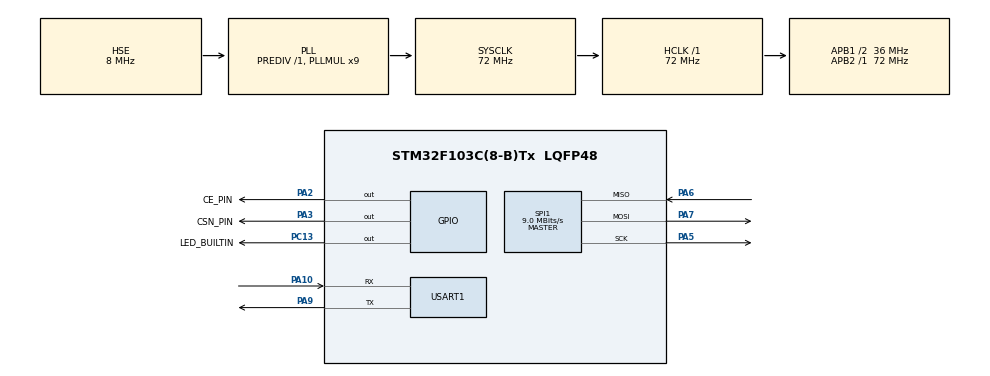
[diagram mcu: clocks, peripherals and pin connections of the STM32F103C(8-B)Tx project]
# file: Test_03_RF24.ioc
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Mcu.Family=STM32F1
Mcu.Name=STM32F103C(8-B)Tx
Mcu.Package=LQFP48
NVIC.PriorityGroup=NVIC_PRIORITYGROUP_4
PA10.Mode=Asynchronous
PA10.Signal=USART1_RX
PA2.GPIO_Label=CE_PIN
PA2.Signal=GPIO_Output
PA3.GPIO_Label=CSN_PIN
PA3.Signal=GPIO_Output
PA5.Mode=Full_Duplex_Master
PA5.Signal=SPI1_SCK
PA6.Mode=Full_Duplex_Master
PA6.Signal=SPI1_MISO
PA7.Mode=Full_Duplex_Master
PA7.Signal=SPI1_MOSI
PA9.Mode=Asynchronous
PA9.Signal=USART1_TX
PC13-TAMPER-RTC.GPIO_Label=LED_BUILTIN
PC13-TAMPER-RTC.Signal=GPIO_Output
PD0-OSC_IN.Mode=HSE-External-Oscillator
PD0-OSC_IN.Signal=RCC_OSC_IN
PD1-OSC_OUT.Mode=HSE-External-Oscillator
PD1-OSC_OUT.Signal=RCC_OSC_OUT
ProjectManager.HeapSize=0x200
ProjectManager.StackSize=0x400
ProjectManager.TargetToolchain=STM32CubeIDE
RCC.AHBFreq_Value=72000000
RCC.APB1CLKDivider=RCC_HCLK_DIV2
RCC.APB1Freq_Value=36000000
RCC.APB1TimFreq_Value=72000000
RCC.APB2Freq_Value=72000000
RCC.APB2TimFreq_Value=72000000
RCC.EnbaleCSS=true
RCC.HCLKFreq_Value=72000000
RCC.PLLMUL=RCC_PLL_MUL9
RCC.PLLSourceVirtual=RCC_PLLSOURCE_HSE
RCC.SYSCLKFreq_VALUE=72000000
RCC.SYSCLKSource=RCC_SYSCLKSOURCE_PLLCLK
RCC.USBFreq_Value=72000000
SPI1.BaudRatePrescaler=SPI_BAUDRATEPRESCALER_8
SPI1.CalculateBaudRate=9.0 MBits/s
SPI1.Direction=SPI_DIRECTION_2LINES
SPI1.Mode=SPI_MODE_MASTER
SPI1.VirtualType=VM_MASTER
USART1.VirtualMode=VM_ASYNC
VP_SYS_VS_ND.Mode=No_Debug
board=custom

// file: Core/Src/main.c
/* USER CODE BEGIN Header */
/**
  ******************************************************************************
  * @file           : main.c
  * @brief          : Main program body
  ******************************************************************************
  * @attention
  *
  * <h2><center>&copy; Copyright (c) 2020 STMicroelectronics.
  * All rights reserved.</center></h2>
  *
  * This software component is licensed by ST under BSD 3-Clause license,
  * the "License"; You may not use this file except in compliance with the
  * License. You may obtain a copy of the License at:
  *                        opensource.org/licenses/BSD-3-Clause
  *
  ******************************************************************************
  */
/* USER CODE END Header */

#include "main.h"

/* USER CODE BEGIN Includes */
#include <stdio.h>
#include <stdlib.h>
#include "RF_RX.h"
/* USER CODE END Includes */

SPI_HandleTypeDef hspi1;

UART_HandleTypeDef huart1;

void SystemClock_Config(void);
static void MX_GPIO_Init(void);
static void MX_SPI1_Init(void);
static void MX_USART1_UART_Init(void);

/* USER CODE BEGIN 0 */

void __io_putchar (char ch) {
	HAL_UART_Transmit(&huart1, (uint8_t *)&ch, 1, 100);
}

typedef struct
{
  unsigned char power;

  unsigned char roll;
  unsigned char pitch;
  unsigned char yaw;

  unsigned char arm;
}RC_paket;

RC_paket rc_paket;

uint8_t rx_address[] = { 1, 2, 3, 4, 0 };
uint8_t tx_address[] = { 2, 3, 4, 5, 6 };

/* USER CODE END 0 */

int main(void)
{

  /* MCU Configuration--------------------------------------------------------*/

  /* Reset of all peripherals, Initializes the Flash interface and the Systick. */
  HAL_Init();

  /* Configure the system clock */
  SystemClock_Config();

  /* Initialize all configured peripherals */
  MX_GPIO_Init();
  MX_SPI1_Init();
  MX_USART1_UART_Init();
  /* USER CODE BEGIN 2 */

  preInit(&hspi1);
  while(!initRadio(rx_address, BITRATE2MBPS, 100)) {
	 printf("Bad radio conn...\n\r");
	 HAL_Delay(100);
  }

  /* USER CODE END 2 */

  /* Infinite loop */
  while (1)
  {

    /* USER CODE BEGIN 3 */
	  //printf("Hello world!\n\r");
	  HAL_Delay(10);
	  while(hasData()) {
		  readData(&rc_paket, sizeof(rc_paket));
	  }
	  printf("Pitch: %d\n\r", rc_paket.pitch);
  }
  /* USER CODE END 3 */
}

void SystemClock_Config(void)
{
  RCC_OscInitTypeDef RCC_OscInitStruct = {0};
  RCC_ClkInitTypeDef RCC_ClkInitStruct = {0};

  /** Initializes the CPU, AHB and APB busses clocks
  */
  RCC_OscInitStruct.OscillatorType = RCC_OSCILLATORTYPE_HSE;
  RCC_OscInitStruct.HSEState = RCC_HSE_ON;
  RCC_OscInitStruct.HSEPredivValue = RCC_HSE_PREDIV_DIV1;
  RCC_OscInitStruct.HSIState = RCC_HSI_ON;
  RCC_OscInitStruct.PLL.PLLState = RCC_PLL_ON;
  RCC_OscInitStruct.PLL.PLLSource = RCC_PLLSOURCE_HSE;
  RCC_OscInitStruct.PLL.PLLMUL = RCC_PLL_MUL9;
  if (HAL_RCC_OscConfig(&RCC_OscInitStruct) != HAL_OK)
  {
    Error_Handler();
  }
  /** Initializes the CPU, AHB and APB busses clocks
  */
  RCC_ClkInitStruct.ClockType = RCC_CLOCKTYPE_HCLK|RCC_CLOCKTYPE_SYSCLK
                              |RCC_CLOCKTYPE_PCLK1|RCC_CLOCKTYPE_PCLK2;
  RCC_ClkInitStruct.SYSCLKSource = RCC_SYSCLKSOURCE_PLLCLK;
  RCC_ClkInitStruct.AHBCLKDivider = RCC_SYSCLK_DIV1;
  RCC_ClkInitStruct.APB1CLKDivider = RCC_HCLK_DIV2;
  RCC_ClkInitStruct.APB2CLKDivider = RCC_HCLK_DIV1;

  if (HAL_RCC_ClockConfig(&RCC_ClkInitStruct, FLASH_LATENCY_2) != HAL_OK)
  {
    Error_Handler();
  }
  /** Enables the Clock Security System
  */
  HAL_RCC_EnableCSS();
}

static void MX_SPI1_Init(void)
{

  /* SPI1 parameter configuration*/
  hspi1.Instance = SPI1;
  hspi1.Init.Mode = SPI_MODE_MASTER;
  hspi1.Init.Direction = SPI_DIRECTION_2LINES;
  hspi1.Init.DataSize = SPI_DATASIZE_8BIT;
  hspi1.Init.CLKPolarity = SPI_POLARITY_LOW;
  hspi1.Init.CLKPhase = SPI_PHASE_1EDGE;
  hspi1.Init.NSS = SPI_NSS_SOFT;
  hspi1.Init.BaudRatePrescaler = SPI_BAUDRATEPRESCALER_8;
  hspi1.Init.FirstBit = SPI_FIRSTBIT_MSB;
  hspi1.Init.TIMode = SPI_TIMODE_DISABLE;
  hspi1.Init.CRCCalculation = SPI_CRCCALCULATION_DISABLE;
  hspi1.Init.CRCPolynomial = 10;
  if (HAL_SPI_Init(&hspi1) != HAL_OK)
  {
    Error_Handler();
  }

}

static void MX_USART1_UART_Init(void)
{

  huart1.Instance = USART1;
  huart1.Init.BaudRate = 115200;
  huart1.Init.WordLength = UART_WORDLENGTH_8B;
  huart1.Init.StopBits = UART_STOPBITS_1;
  huart1.Init.Parity = UART_PARITY_NONE;
  huart1.Init.Mode = UART_MODE_TX_RX;
  huart1.Init.HwFlowCtl = UART_HWCONTROL_NONE;
  huart1.Init.OverSampling = UART_OVERSAMPLING_16;
  if (HAL_UART_Init(&huart1) != HAL_OK)
  {
    Error_Handler();
  }

}

static void MX_GPIO_Init(void)
{
  GPIO_InitTypeDef GPIO_InitStruct = {0};

  /* GPIO Ports Clock Enable */
  __HAL_RCC_GPIOC_CLK_ENABLE();
  __HAL_RCC_GPIOD_CLK_ENABLE();
  __HAL_RCC_GPIOA_CLK_ENABLE();

  /*Configure GPIO pin Output Level */
  HAL_GPIO_WritePin(LED_BUILTIN_GPIO_Port, LED_BUILTIN_Pin, GPIO_PIN_RESET);

  /*Configure GPIO pin Output Level */
  HAL_GPIO_WritePin(GPIOA, CE_PIN_Pin|CSN_PIN_Pin, GPIO_PIN_RESET);

  /*Configure GPIO pin : LED_BUILTIN_Pin */
  GPIO_InitStruct.Pin = LED_BUILTIN_Pin;
  GPIO_InitStruct.Mode = GPIO_MODE_OUTPUT_PP;
  GPIO_InitStruct.Pull = GPIO_NOPULL;
  GPIO_InitStruct.Speed = GPIO_SPEED_FREQ_LOW;
  HAL_GPIO_Init(LED_BUILTIN_GPIO_Port, &GPIO_InitStruct);

  /*Configure GPIO pins : CE_PIN_Pin CSN_PIN_Pin */
  GPIO_InitStruct.Pin = CE_PIN_Pin|CSN_PIN_Pin;
  GPIO_InitStruct.Mode = GPIO_MODE_OUTPUT_PP;
  GPIO_InitStruct.Pull = GPIO_NOPULL;
  GPIO_InitStruct.Speed = GPIO_SPEED_FREQ_LOW;
  HAL_GPIO_Init(GPIOA, &GPIO_InitStruct);

}

void Error_Handler(void)
{
}

/************************ (C) COPYRIGHT STMicroelectronics *****END OF FILE****/
